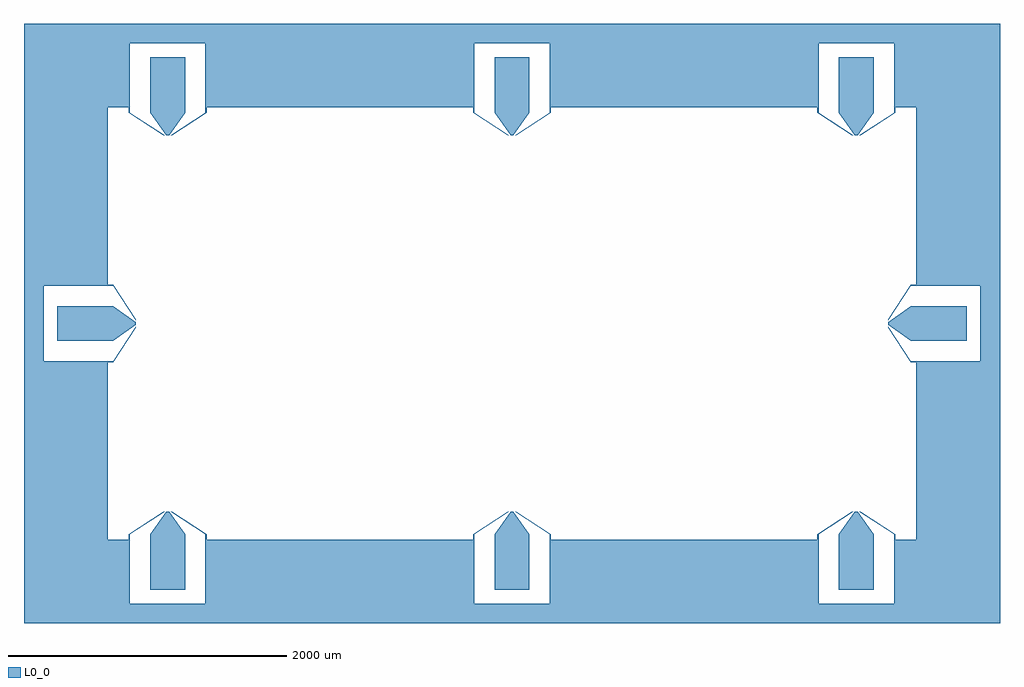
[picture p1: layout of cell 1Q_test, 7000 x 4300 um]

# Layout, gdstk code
import gdstk
lib = gdstk.Library(unit=1e-6, precision=1e-09)
def P(c, l, *ps):  # polygons
    for p in ps: c.add(gdstk.Polygon(p, *l))
L0_0 = (0, 0)

c_1q_test = lib.new_cell('1Q_test')
P(c_1q_test, L0_0, [(2345,1910),(2345,1510),(2460,1350),(2480,1350),(2595,1510),(2595,1910)],
  [(2438,1350),(2448,1350),(2199,1510),(2199,2010),(2741,2010),(2741,1510),(2492,1350),(2502,1350),(2749,1510),(2749,2018),(2191,2018),(2191,1510)],
  [(2595,-1910),(2595,-1510),(2480,-1350),(2460,-1350),(2345,-1510),(2345,-1910)],
  [(2502,-1350),(2492,-1350),(2741,-1510),(2741,-2010),(2199,-2010),(2199,-1510),(2448,-1350),(2438,-1350),(2191,-1510),(2191,-2018),(2749,-2018),(2749,-1510)],
  [(-125,1910),(-125,1510),(-10,1350),(10,1350),(125,1510),(125,1910)],
  [(-32,1350),(-22,1350),(-271,1510),(-271,2010),(271,2010),(271,1510),(22,1350),(32,1350),(279,1510),(279,2018),(-279,2018),(-279,1510)],
  [(125,-1910),(125,-1510),(10,-1350),(-10,-1350),(-125,-1510),(-125,-1910)],
  [(32,-1350),(22,-1350),(271,-1510),(271,-2010),(-271,-2010),(-271,-1510),(-22,-1350),(-32,-1350),(-279,-1510),(-279,-2018),(279,-2018),(279,-1510)],
  [(-2595,1910),(-2595,1510),(-2480,1350),(-2460,1350),(-2345,1510),(-2345,1910)],
  [(-2502,1350),(-2492,1350),(-2741,1510),(-2741,2010),(-2199,2010),(-2199,1510),(-2448,1350),(-2438,1350),(-2191,1510),(-2191,2018),(-2749,2018),(-2749,1510)],
  [(-2345,-1910),(-2345,-1510),(-2460,-1350),(-2480,-1350),(-2595,-1510),(-2595,-1910)],
  [(-2438,-1350),(-2448,-1350),(-2199,-1510),(-2199,-2010),(-2741,-2010),(-2741,-1510),(-2492,-1350),(-2502,-1350),(-2749,-1510),(-2749,-2018),(-2191,-2018),(-2191,-1510)],
  [(3260,125),(2860,125),(2700,10),(2700,-10),(2860,-125),(3260,-125)],
  [(2700,32),(2700,22),(2860,271),(3360,271),(3360,-271),(2860,-271),(2700,-22),(2700,-32),(2860,-279),(3368,-279),(3368,279),(2860,279)],
  [(-3260,-125),(-2860,-125),(-2700,-10),(-2700,10),(-2860,125),(-3260,125)],
  [(-2700,-32),(-2700,-22),(-2860,-271),(-3360,-271),(-3360,271),(-2860,271),(-2700,22),(-2700,32),(-2860,279),(-3368,279),(-3368,-279),(-2860,-279)],
  [(3500,-2150),(3500,2150),(-3500,2150),(-3500,-279),(-3368,-279),(-3368,279),(-2900,279),(-2900,1550),(-2749,1550),(-2749,2018),(-2191,2018),(-2191,1550),(-279,1550),(-279,2018),(279,2018),(279,1550),(2191,1550),(2191,2018),(2749,2018),(2749,1550),(2900,1550),(2900,279),(3368,279),(3368,-279),(2900,-279),(2900,-1550),(2749,-1550),(2749,-2018),(2191,-2018),(2191,-1550),(279,-1550),(279,-2018),(-279,-2018),(-279,-1550),(-2191,-1550),(-2191,-2018),(-2749,-2018),(-2749,-1550),(-2900,-1550),(-2900,-279),(-3500,-279),(-3500,-2150)])

lib.write_gds('1Q_test.gds')
